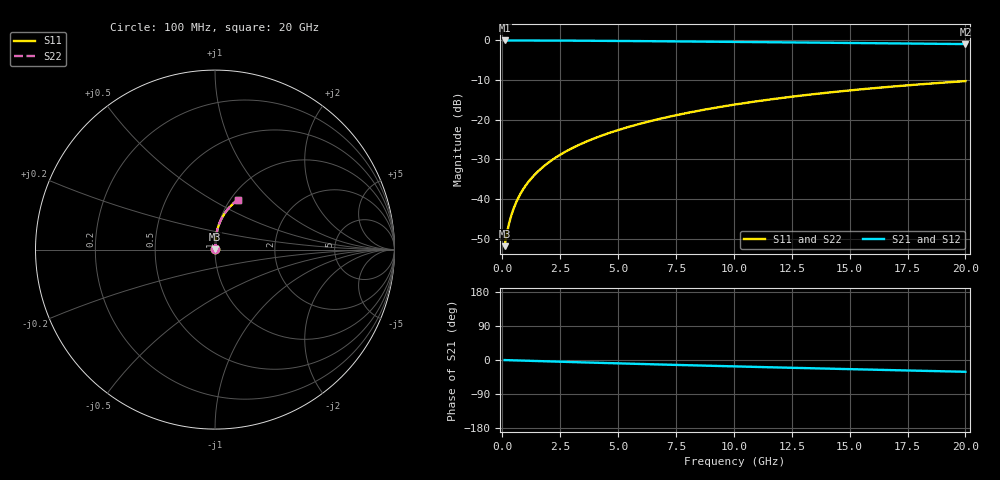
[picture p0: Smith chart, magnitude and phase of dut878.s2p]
! Touchstone file exported from HFSS 2024.1.0
!  File:  C:/UserFiles/LocalFiles/RDL_TSV_Batchsim/temp_RDL_top_878_1779856686.aedt
!  Generated:  12:40:33 PM May 27, 2026
!  Design:  RDL_top
!  Project:  temp_RDL_top_878_1779856686
!  Setup:  Setup1
!  Solution:  Sweep
! Variables:
!  dtsv = 10.80580581um
!  hbump = 3um
!  htsv = 84.45um
!  ldown = 100um
!  lrdl = 418.09um
!  p = 40
!  p1 = 50.72um
!  rhole = 1um
!  t = 450um
!  tdown = 3.915915916um
!  trdl = 3.79um
!  wdown = 15.38538539um
!  wrdl = 21.62um
# GHz S MA R 50.000000
! Terminal data exported
! Port[1] = Box2_T1
! Port[2] = Box2_T2
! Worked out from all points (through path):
!   200 points, 100 MHz to 20 GHz, reference 50 ohm
!   highest |S21| = -0.02 dB at 100 MHz (marker M1); lowest = -0.9 dB at 20 GHz (marker M2)
!   group delay of S21, straight-line fit = 4.28 ps
!   lowest |S11| = -51.9 dB at 100 MHz (marker M3), VSWR 1.01, Z = 50.2 + j0.157 ohm
!   |S11| at or under -10 dB: start of sweep to end of sweep
!   |S22| runs from -51.9 to -10.3 dB; largest |S21 - S12| = 2.6e-15
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0.1  0.002535 38.0  0.998 -0.2  0.998 -0.2  0.002535 38.0
! Gamma 0 0 0 0
! Port Impedance 50 0 50 0
0.2  0.003713 55.7  0.9979 -0.4  0.9979 -0.4  0.003713 55.7
0.3  0.005021 64.1  0.9978 -0.6  0.9978 -0.6  0.00502 64.1
0.4  0.006356 69.1  0.9976 -0.7  0.9976 -0.7  0.006355 69.1
0.5  0.007704 72.4  0.9975 -0.9  0.9975 -0.9  0.007703 72.4
0.6  0.009063 74.8  0.9974 -1.1  0.9974 -1.1  0.009063 74.8
0.8  0.01181 78.1  0.9972 -1.5  0.9972 -1.5  0.01181 78.1
1.1  0.016 80.9  0.9968 -2.0  0.9968 -2.0  0.016 80.9
1.5  0.02166 83.0  0.9961 -2.7  0.9961 -2.7  0.02166 83.0
1.8  0.02594 84.0  0.9955 -3.3  0.9955 -3.3  0.02595 84.0
2.1  0.03027 84.6  0.9948 -3.8  0.9948 -3.8  0.03027 84.6
2.7  0.03902 85.3  0.9931 -4.9  0.9931 -4.9  0.03902 85.3
3.5  0.0509 85.7  0.9903 -6.3  0.9903 -6.3  0.0509 85.7
4.2  0.06151 85.6  0.9875 -7.5  0.9875 -7.5  0.06151 85.7
5  0.07386 85.3  0.9839 -8.9  0.9839 -8.9  0.07386 85.3
5.9  0.08801 84.7  0.9795 -10.4  0.9795 -10.4  0.08802 84.7
6.8  0.1024 83.9  0.9749 -11.8  0.9749 -11.8  0.1024 83.9
8.4  0.1283 82.1  0.9662 -14.4  0.9662 -14.4  0.1283 82.1
10.1  0.156 79.8  0.9567 -17.0  0.9567 -17.0  0.156 79.9
13.4  0.209 75.0  0.9378 -21.9  0.9378 -21.9  0.209 75.1
16.7  0.2594 70.1  0.9184 -26.6  0.9184 -26.6  0.2595 70.1
20  0.3064 65.3  0.8986 -31.1  0.8986 -31.1  0.3065 65.3
